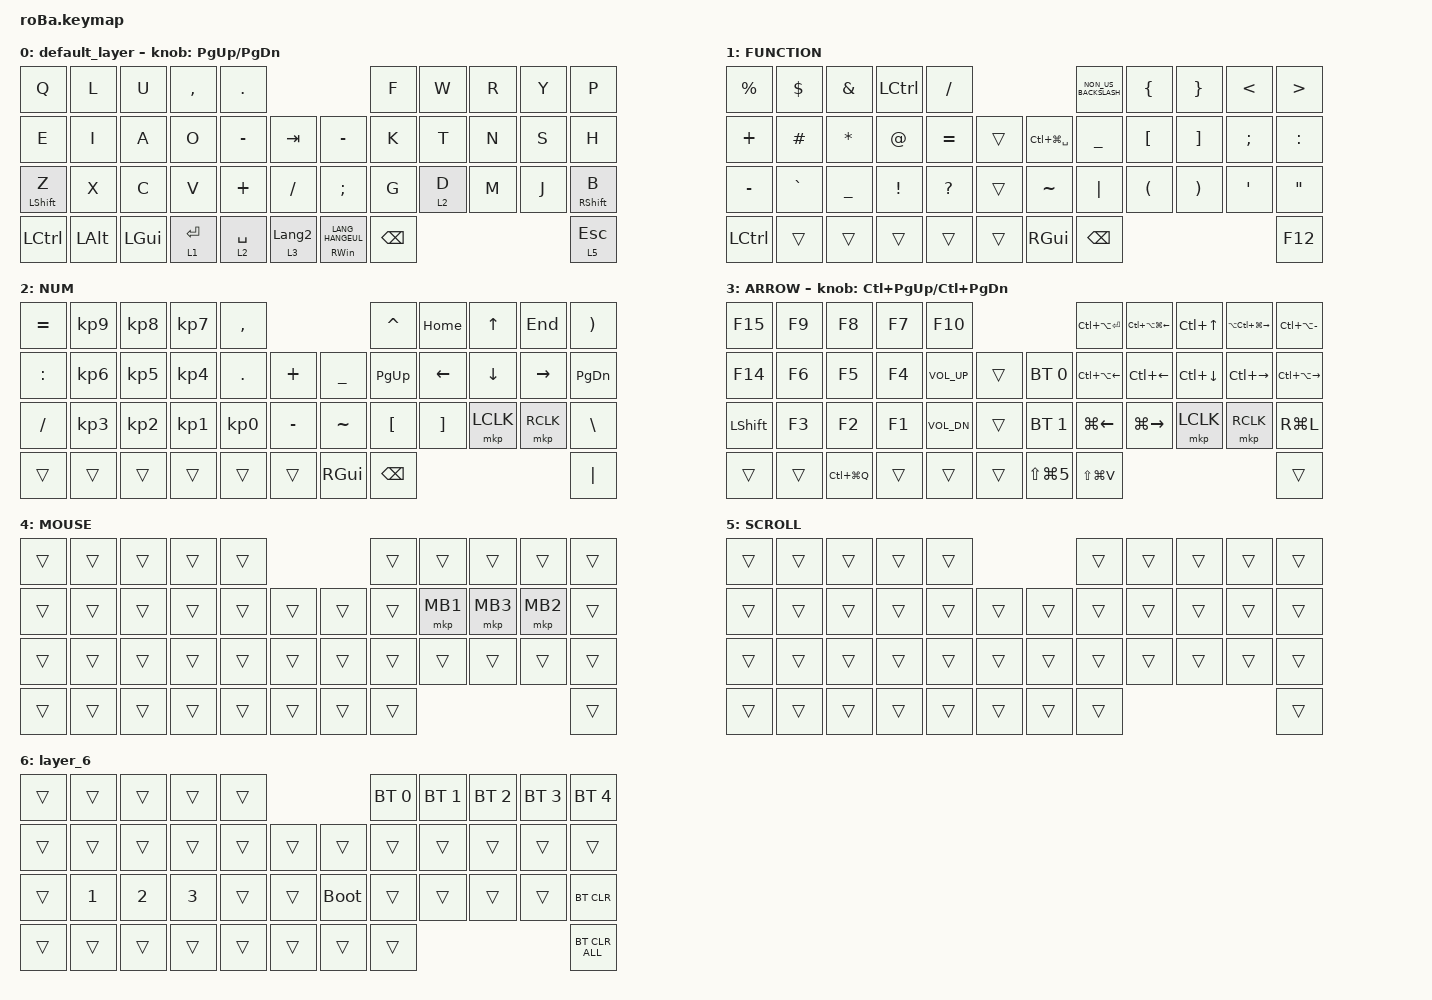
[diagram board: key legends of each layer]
#include <behaviors.dtsi>
#include <dt-bindings/zmk/bt.h>
#include <dt-bindings/zmk/keys.h>
#include <dt-bindings/zmk/pointing.h>

&mt {
    flavor = "balanced";
    quick-tap-ms = <0>;
};

&trackball {
    automouse-layer = <4>;
    scroll-layers = <5>;

    // arrows {
    //     layers = <3>;
    //     bindings =
    //         <&kp RIGHT_ARROW>,
    //         <&kp LEFT_ARROW>,
    //         <&kp UP_ARROW>,
    //         <&kp DOWN_ARROW>;
    //     tick = <10>;
    //     wait-ms = <5>;
    //     tap-ms = <5>;
    // };
};

/ {
    combos { compatible = "zmk,combos"; };

    behaviors {
        lt_to_layer_0: lt_to_layer_0 {
            compatible = "zmk,behavior-hold-tap";
            label = "LAYER_TAP_TO_0";
            bindings = <&mo>, <&to>;

            #binding-cells = <2>;
            tapping-term-ms = <200>;
        };
    };

    keymap {
        compatible = "zmk,keymap";

        default_layer {
            bindings = <
&kp Q             &kp L         &kp U         &kp COMMA    &kp PERIOD                                                     &kp F          &kp W    &kp R  &kp Y  &kp P
&kp E             &kp I         &kp A         &kp O        &kp MINUS    &kp TAB               &kp MINUS                   &kp K          &kp T    &kp N  &kp S  &kp H
&mt LEFT_SHIFT Z  &kp X         &kp C         &kp V        &kp PLUS     &kp SLASH             &kp SEMICOLON               &kp G          &lt 2 D  &kp M  &kp J  &mt RIGHT_SHIFT B
&kp LCTRL         &kp LEFT_ALT  &kp LEFT_GUI  &lt 1 ENTER  &lt 2 SPACE  &lt 3 LANGUAGE_2      &mt RIGHT_WIN LANG_HANGEUL  &kp BACKSPACE                         &lt 5 ESCAPE
            >;

            sensor-bindings = <&inc_dec_kp PG_UP PAGE_DOWN>;
        };

        FUNCTION {
            bindings = <
&kp PERCENT  &kp DOLLAR  &kp AMPERSAND   &kp LCTRL        &kp SLASH                                    &kp NON_US_BACKSLASH  &kp LEFT_BRACE        &kp RIGHT_BRACE        &kp LESS_THAN  &kp GREATER_THAN
&kp PLUS     &kp HASH    &kp ASTERISK    &kp AT_SIGN      &kp EQUAL     &trans      &kp LC(LG(SPACE))  &kp UNDERSCORE        &kp LEFT_BRACKET      &kp RIGHT_BRACKET      &kp SEMICOLON  &kp COLON
&kp MINUS    &kp GRAVE   &kp UNDERSCORE  &kp EXCLAMATION  &kp QUESTION  &trans      &kp TILDE          &kp PIPE              &kp LEFT_PARENTHESIS  &kp RIGHT_PARENTHESIS  &kp SQT        &kp DOUBLE_QUOTES
&kp LCTRL    &trans      &trans          &trans           &trans        &trans      &kp RIGHT_GUI      &kp BACKSPACE                                                                     &kp F12
            >;
        };

        NUM {
            bindings = <
&kp EQUAL  &kp KP_NUMBER_9  &kp KP_NUMBER_8  &kp KP_NUMBER_7  &kp COMMA                                       &kp CARET         &kp HOME           &kp UP_ARROW    &kp END          &kp RIGHT_PARENTHESIS
&kp COLON  &kp KP_NUMBER_6  &kp KP_NUMBER_5  &kp KP_NUMBER_4  &kp PERIOD       &kp PLUS       &kp UNDERSCORE  &kp PAGE_UP       &kp LEFT_ARROW     &kp DOWN_ARROW  &kp RIGHT_ARROW  &kp PAGE_DOWN
&kp SLASH  &kp KP_NUMBER_3  &kp KP_NUMBER_2  &kp KP_NUMBER_1  &kp KP_NUMBER_0  &kp MINUS      &kp TILDE       &kp LEFT_BRACKET  &kp RIGHT_BRACKET  &mkp LCLK       &mkp RCLK        &kp BACKSLASH
&trans     &trans           &trans           &trans           &trans           &trans         &kp RIGHT_GUI   &kp BACKSPACE                                                         &kp PIPE
            >;
        };

        ARROW {
            bindings = <
&kp F15         &kp F9  &kp F8         &kp F7  &kp F10                                            &kp LC(LA(ENTER))       &kp LC(LA(LG(LEFT_ARROW)))  &kp LC(UP_ARROW)    &kp LA(LC(LG(RIGHT_ARROW)))  &kp LC(LA(MINUS))
&kp F14         &kp F6  &kp F5         &kp F4  &kp C_VOLUME_UP  &trans      &bt BT_SEL 0          &kp LC(LA(LEFT_ARROW))  &kp LC(LEFT_ARROW)          &kp LC(DOWN_ARROW)  &kp LC(RIGHT_ARROW)          &kp LC(LA(RIGHT_ARROW))
&kp LEFT_SHIFT  &kp F3  &kp F2         &kp F1  &kp C_VOL_DN     &trans      &bt BT_SEL 1          &kp LG(LEFT_ARROW)      &kp LG(RIGHT_ARROW)         &mkp LCLK           &mkp RCLK                    &kp RG(L)
&trans          &trans  &kp LC(LG(Q))  &trans  &trans           &trans      &kp LS(LG(NUMBER_5))  &kp LS(LG(V))                                                                                        &trans
            >;

            sensor-bindings = <&inc_dec_kp LC(PAGE_UP) LC(PAGE_DOWN)>;
        };

        MOUSE {
            bindings = <
&trans  &trans  &trans  &trans  &trans                      &trans  &trans    &trans    &trans    &trans
&trans  &trans  &trans  &trans  &trans  &trans      &trans  &trans  &mkp MB1  &mkp MB3  &mkp MB2  &trans
&trans  &trans  &trans  &trans  &trans  &trans      &trans  &trans  &trans    &trans    &trans    &trans
&trans  &trans  &trans  &trans  &trans  &trans      &trans  &trans                                &trans
            >;
        };

        SCROLL {
            bindings = <
&trans  &trans  &trans  &trans  &trans                      &trans  &trans  &trans  &trans  &trans
&trans  &trans  &trans  &trans  &trans  &trans      &trans  &trans  &trans  &trans  &trans  &trans
&trans  &trans  &trans  &trans  &trans  &trans      &trans  &trans  &trans  &trans  &trans  &trans
&trans  &trans  &trans  &trans  &trans  &trans      &trans  &trans                          &trans
            >;
        };

        layer_6 {
            bindings = <
&trans  &trans        &trans        &trans        &trans                           &bt BT_SEL 0  &bt BT_SEL 1  &bt BT_SEL 2  &bt BT_SEL 3  &bt BT_SEL 4
&trans  &trans        &trans        &trans        &trans  &trans      &trans       &trans        &trans        &trans        &trans        &trans
&trans  &kp NUMBER_1  &kp NUMBER_2  &kp NUMBER_3  &trans  &trans      &bootloader  &trans        &trans        &trans        &trans        &bt BT_CLR
&trans  &trans        &trans        &trans        &trans  &trans      &trans       &trans                                                  &bt BT_CLR_ALL
            >;
        };
    };
};
